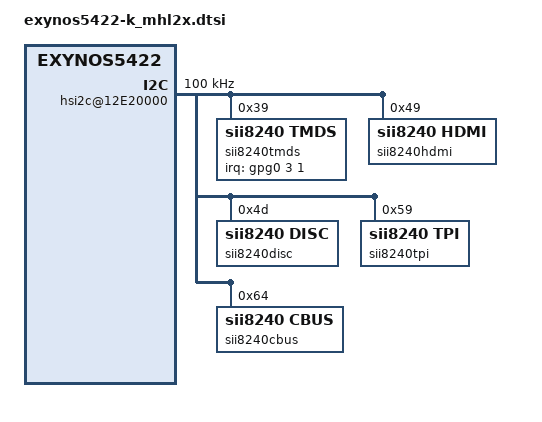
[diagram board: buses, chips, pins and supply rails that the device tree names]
/* Copyright (c) 2013, Samsung Electronics Corporation. All rights reserved.
 *
 * This program is free software; you can redistribute it and/or modify
 * it under the terms of the GNU General Public License version 2 and
 * only version 2 as published by the Free Software Foundation.
 *
 * This program is distributed in the hope that it will be useful,
 * but WITHOUT ANY WARRANTY; without even the implied warranty of
 * MERCHANTABILITY or FITNESS FOR A PARTICULAR PURPOSE.  See the
 * GNU General Public License for more details.
 */

/ {
	hsi2c@12E20000 {
		samsung,fs-mode;
		clock-frequency = <100000>;
		status = "okay";

		sii8240tmds@39 {
			compatible = "sii8240,tmds";
			reg = <0x39>; /* 0x72 >> 1 */
			sii8240,client_id = <0x00>;

			interrupts = <3 1 1>;
			interrupt-parent = <&gpg0>;
			pinctrl-names = "default";
			pinctrl-0 = <&mhl_irq>;

			sii8240,mhl_reset = <&gpj4 3 0>;
			sii8240,mhl_scl = <&gpb4 1 0>;
			sii8240,mhl_sda = <&gpb4 0 0>;
			sii8240,swing_level = <0x2D>;
		};
		sii8240hdmi@49 {
			compatible = "sii8240,hdmi";
			reg = <0x49>; /* 0x92 >> 1 */
			sii8240,client_id = <0x01>;
		};
		sii8240disc@4D {
			compatible = "sii8240,disc";
			reg = <0x4D>;  /* 0x9A >> 1 */
			sii8240,client_id = <0x02>;
		};
		sii8240tpi@59 {
			compatible = "sii8240,tpi";
			reg = <0x59>;   /* 0xB2 >> 1 */
			sii8240,client_id = <0x03>;
		};
		sii8240cbus@64 {
			compatible = "sii8240,cbus";
			reg = <0x64>;  /* 0xC8 >> 1 */
			sii8240,client_id = <0x04>;
		};
	};

	pinctrl@14000000 {
		mhl_irq: mhl_irq {
			samsung,pins = "gpg0-3";
			samsung,pin-function = <0xf>;
			samsung,pin-pud = <1>;
			samsung,pin-drv = <0>;
		};
	};
};
